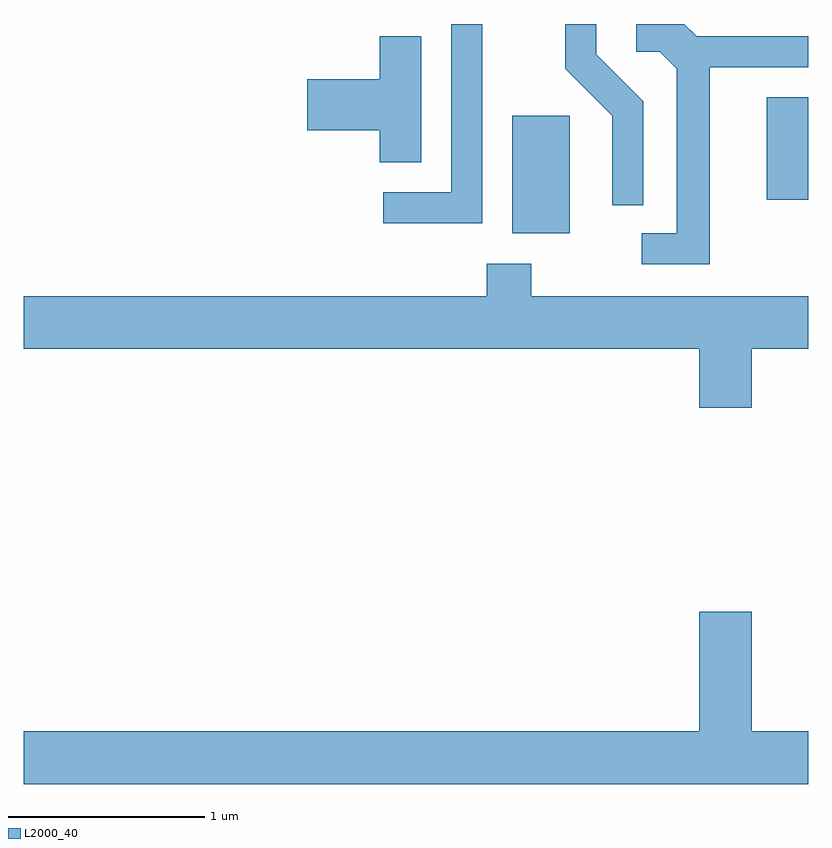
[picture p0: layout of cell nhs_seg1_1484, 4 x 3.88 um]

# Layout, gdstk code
import gdstk
lib = gdstk.Library(unit=1e-6, precision=1e-09)
def R(c, l, rs):  # rectangles x0, y0, x1, y1
    for r in rs: c.add(gdstk.rectangle(r[:2], r[2:], *l))
def P(c, l, *ps):  # polygons
    for p in ps: c.add(gdstk.Polygon(p, *l))
L2000_40 = (2000, 40)

nhs_seg1_1484 = lib.new_cell('nhs_seg1_1484')
R(nhs_seg1_1484, L2000_40, [(234.101,864.646,234.394,865.244), (235.401,864.816,235.611,865.339)])
P(nhs_seg1_1484, L2000_40, [(233.949,865.712),(233.791,865.712),(233.791,864.854),(233.443,864.854),(233.443,864.696),(233.949,864.696)],
  [(234.769,865.317),(234.529,865.557),(234.529,865.712),(234.371,865.712),(234.371,865.484),(234.611,865.244),(234.611,864.788),(234.769,864.788)],
  [(235.109,865.491),(235.611,865.491),(235.611,865.649),(235.042,865.649),(234.979,865.712),(234.733,865.712),(234.733,865.571),(234.854,865.571),(234.941,865.484),(234.941,864.644),(234.763,864.644),(234.763,864.486),(235.109,864.486)],
  [(233.639,865.649),(233.426,865.649),(233.426,865.429),(233.056,865.429),(233.056,865.171),(233.426,865.171),(233.426,865.006),(233.639,865.006)],
  [(235.324,864.056),(235.611,864.056),(235.611,864.324),(234.199,864.324),(234.199,864.489),(233.971,864.489),(233.971,864.324),(231.611,864.324),(231.611,864.056),(235.056,864.056),(235.056,863.756),(235.324,863.756)],
  [(235.611,862.104),(235.324,862.104),(235.324,862.714),(235.056,862.714),(235.056,862.104),(231.611,862.104),(231.611,861.836),(235.611,861.836)])

lib.write_gds('nhs_seg1_1484.gds')
